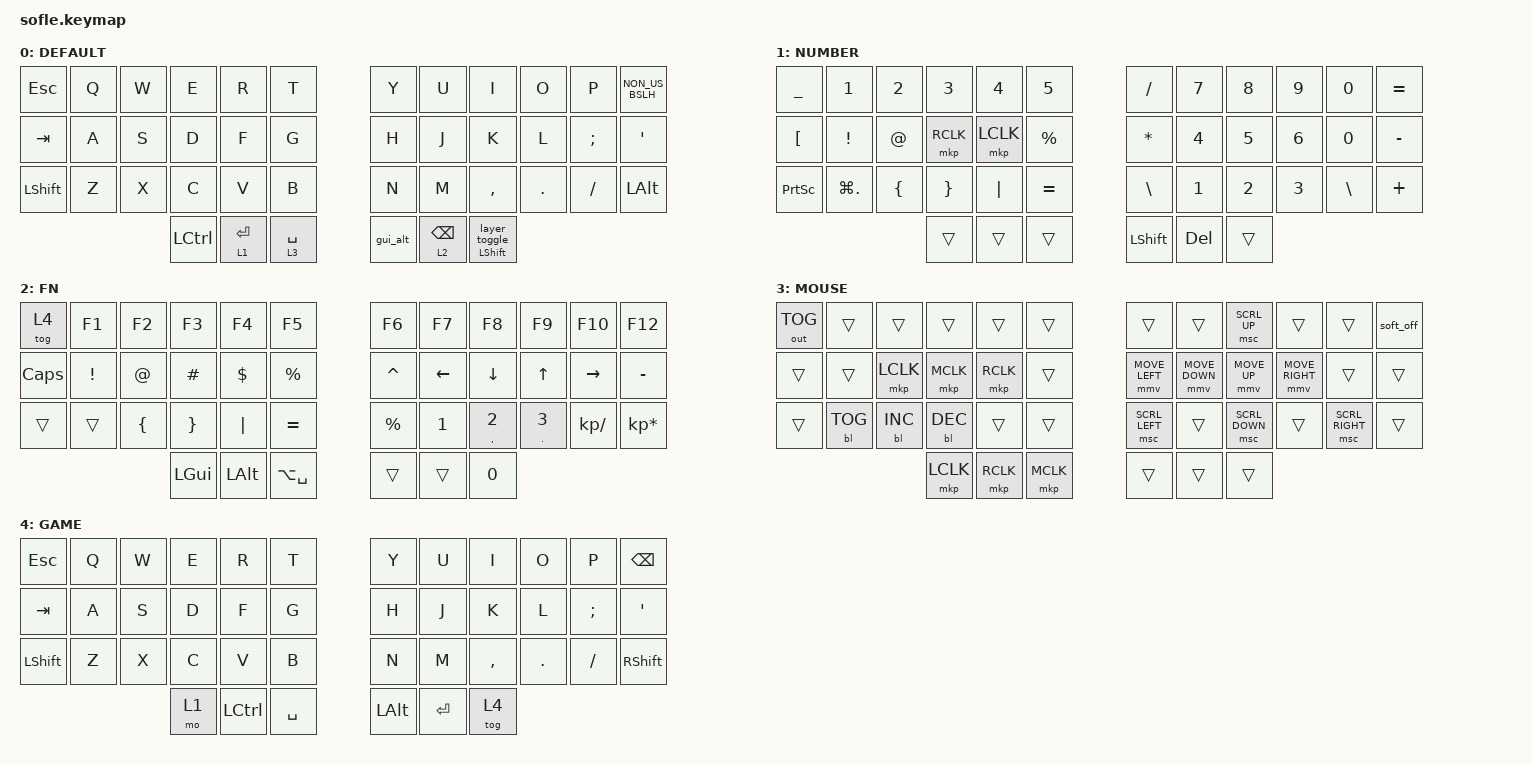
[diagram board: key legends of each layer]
/*
 * Copyright (c) 2023 The ZMK Contributors
 *
 * SPDX-License-Identifier: MIT
 */

#include <behaviors.dtsi>
#include <dt-bindings/zmk/keys.h>
#include <dt-bindings/zmk/bt.h>
#include <dt-bindings/zmk/outputs.h>
#include <dt-bindings/zmk/backlight.h>

#define ZMK_POINTING_DEFAULT_SCRL_VAL 100
#include <dt-bindings/zmk/pointing.h>

// Helpful macros borrowed from AndrewMSHowe
#define ___ &trans

// Layer numbers for use by the keymap & macros

#define DEFAULT 0
#define NUMBER  1
#define FN  2
#define HOTKEY  3
#define GAME    4


// Layer-tap tweaks:
// - flavor "hold-preferred": if any key is pressed while &lt is held, immediately
//   treat as HOLD (layer active). This makes layer activation snappy — e.g.,
//   hold L2 + tap Q correctly gives layer-1's Q (a number) instead of RETURN + Q.
// - quick-tap-ms: after a tap+release, if pressed again within 200ms treat as
//   tap-repeat (so hold-to-repeat backspace/enter still works).
&lt {
    flavor = "hold-preferred";
    tapping-term-ms = <200>;
    quick-tap-ms = <200>;
};

// Mod-tap keeps default balanced flavor (better for modifier + letter combos).
&mt {
    quick-tap-ms = <200>;
};

/ {
    behaviors {
        // Right thumb 3 (right of BSPC): tap 1x = toggle NUMBER, tap 2x = toggle FN
        layer_toggle: layer_toggle {
            compatible = "zmk,behavior-tap-dance";
            #binding-cells = <0>;
            tapping-term-ms = <220>;
            bindings = <&tog 1>, <&tog 2>;
        };

        // Right thumb 1 (left of BSPC): tap/hold = Cmd (LGUI), 2x tap = Alt (LALT)
        // Cmd combos: press-and-hold R1 while pressing letter (e.g., Cmd+C).
        // Opt combos: tap R1 twice, hold on 2nd tap, then press letter.
        gui_alt: gui_alt {
            compatible = "zmk,behavior-tap-dance";
            #binding-cells = <0>;
            tapping-term-ms = <200>;
            bindings = <&kp LGUI>, <&kp LALT>;
        };

        // Right thumb 3 (right of BSPC): hold = Shift, tap = layer_toggle
        // Shift combos: hold R3 + letter (e.g., R3+A = capital A).
        // Layer toggle: tap R3 1x = NUMBER, tap 2x = FN (via layer_toggle).
        shift_layer: shift_layer {
            compatible = "zmk,behavior-hold-tap";
            #binding-cells = <2>;
            tapping-term-ms = <200>;
            quick-tap-ms = <200>;
            flavor = "tap-preferred";
            bindings = <&kp>, <&layer_toggle>;
        };
    };

    keymap {
        compatible = "zmk,keymap";

        windows_default_layer {
            label = "DEFAULT";
            bindings = <
// ╭───────────────┬───────────────┬───────────────┬───────────────┬───────────────┬───────────────╮                                 ╭───────────────┬───────────────┬───────────────┬───────────────┬───────────────┬───────────────╮
       &kp ESC        &kp Q            &kp W           &kp E           &kp R           &kp T     /*|                                 |*/  &kp Y          &kp U           &kp I           &kp O           &kp P          &kp NON_US_BSLH
       &kp TAB        &kp A            &kp S           &kp D           &kp F           &kp G     /*├─────────────╮     ╭─────────────┤*/  &kp H          &kp J           &kp K           &kp L           &kp SEMI       &kp SQT
       &kp LSHIFT     &kp Z            &kp X           &kp C           &kp V           &kp B                                              &kp N          &kp M           &kp COMMA       &kp DOT         &kp FSLH       &kp LALT
/* ╰───────────────┴───────────────┤*/                                 &kp LCTRL       &lt 1  RETURN  &lt 3 SPACE            &gui_alt      &lt 2 BSPC     &shift_layer LSHIFT 0 //├───────────────┴───────────────╯
//                                 ╰───────────────┴───────────────┴───────────────┴───────────────┴─────────────╯     ╰─────────────┴───────────────┴───────────────┴───────────────┴───────────────╯
            >;
        };

 

        windows_symbols_layer {
            label = "NUMBER";
            bindings = <
// ╭───────────────┬───────────────┬───────────────┬───────────────┬───────────────┬───────────────╮                                 ╭───────────────┬───────────────┬───────────────┬───────────────┬───────────────┬───────────────╮
       &kp UNDER       &kp N1          &kp N2          &kp N3          &kp N4          &kp N5    /*|                                 |*/  &kp FSLH       &kp N7          &kp N8          &kp N9          &kp N0          &kp EQUAL
       &kp LBKT        &kp EXCL        &kp AT          &mkp RCLK       &mkp LCLK       &kp PRCNT /*├─────────────╮     ╭─────────────┤*/  &kp STAR       &kp N4          &kp N5          &kp N6          &kp N0          &kp MINUS
       &kp PSCRN       &kp LG(DOT)     &kp LEFT_BRACE  &kp RIGHT_BRACE &kp PIPE        &kp EQUAL                                          &kp BSLH       &kp N1          &kp N2          &kp N3          &kp BACKSLASH   &kp PLUS
/* ╰───────────────┴───────────────┤*/                                 ___             ___             ___                 &kp LSHIFT     &kp DEL        ___                        //├───────────────┴───────────────╯
//                                 ╰───────────────┴───────────────┴───────────────┴───────────────┴─────────────╯     ╰─────────────┴───────────────┴───────────────┴───────────────┴───────────────╯
            >;
        };

        numpad_layer {
            label = "FN";
            
            bindings = <
// ╭───────────────┬───────────────┬───────────────┬───────────────┬───────────────┬───────────────╮                                 ╭───────────────┬───────────────┬───────────────┬───────────────┬───────────────┬───────────────╮
       &tog 4          &kp F1          &kp F2          &kp F3          &kp F4          &kp F5    /*|                                 |*/  &kp F6         &kp F7          &kp F8          &kp F9          &kp F10          &kp F12
       &kp CAPSLOCK    &kp EXCL        &kp AT          &kp HASH        &kp DLLR        &kp PRCNT /*├─────────────╮     ╭─────────────┤*/  &kp CARET      &kp LEFT        &kp DOWN        &kp UP          &kp RIGHT        &kp MINUS
       ___             ___             &kp LEFT_BRACE  &kp RIGHT_BRACE &kp PIPE        &kp EQUAL                                          &kp PRCNT      &kp N1          &mt COMMA N2    &mt DOT N3      &kp KP_DIVIDE    &kp KP_MULTIPLY
/* ╰───────────────┴───────────────┤*/                                 &kp LGUI        &kp LALT      &kp LA(SPACE)            ___            ___         &kp N0                                    //├───────────────┴───────────────╯
//                                 ╰───────────────┴───────────────┴───────────────┴───────────────┴─────────────╯     ╰─────────────┴───────────────┴───────────────┴───────────────┴───────────────╯
            >;
      };



      mouse_layer {
            label = "MOUSE";
            bindings = <
// ╭───────────────┬───────────────┬───────────────┬───────────────┬───────────────┬────────────────╮                                 ╭───────────────┬───────────────┬───────────────┬───────────────┬───────────────┬───────────────╮
      &out OUT_TOG     ___              ___             ___             ___             ___      /*|                                 |*/   ___            ___             &msc SCRL_UP     ___             ___              &soft_off
      ___              ___              &mkp LCLK       &mkp MCLK       &mkp RCLK       ___      /*├─────────────╮     ╭─────────────┤*/   &mmv MOVE_LEFT &mmv MOVE_DOWN  &mmv MOVE_UP     &mmv MOVE_RIGHT ___              ___
      ___              &bl BL_TOG       &bl BL_INC      &bl BL_DEC      ___             ___                                                &msc SCRL_LEFT ___             &msc SCRL_DOWN   ___             &msc SCRL_RIGHT  ___
/* ╰───────────────┴───────────────┤*/                                 &mkp LCLK       &mkp RCLK       &mkp MCLK           ___            ___            ___              //├───────────────┴───────────────╯
//                                 ╰───────────────┴───────────────┴───────────────┴────────────────┴─────────────╯     ╰─────────────┴───────────────┴───────────────┴───────────────┴───────────────╯
            >;
        };

        // GAME layer — optimized for League of Legends.
        // Only direct &kp bindings (no layer-tap/mod-tap) so nothing gets
        // triggered by accident while spamming keys or holding Space to
        // center camera. Toggle in/out via `&tog 4`.
        //
        // Thumb layout:
        //   L1 = &mo 1 (hold for NUMBER layer -> items 1-6 via Q W E R T ...)
        //   L2 = LCTRL (Ctrl+Q/W/E/R = level up ability)
        //   L3 = SPACE (center camera, hold-able)
        //   R1 = LALT  (Alt+Q/W/E/R = self-cast)
        //   R2 = ENTER (open chat)
        //   R3 = &tog 4 (exit GAME back to DEFAULT)
        game_layer {
            label = "GAME";
            bindings = <
// ╭───────────────┬───────────────┬───────────────┬───────────────┬───────────────┬────────────────╮                                 ╭───────────────┬───────────────┬───────────────┬───────────────┬───────────────┬───────────────╮
      &kp ESC          &kp Q            &kp W           &kp E           &kp R           &kp T     /*|                                 |*/   &kp Y          &kp U           &kp I            &kp O           &kp P            &kp BSPC
      &kp TAB          &kp A            &kp S           &kp D           &kp F           &kp G     /*├─────────────╮     ╭─────────────┤*/   &kp H          &kp J           &kp K            &kp L           &kp SEMI         &kp SQT
      &kp LSHIFT       &kp Z            &kp X           &kp C           &kp V           &kp B                                                &kp N          &kp M           &kp COMMA        &kp DOT         &kp FSLH         &kp RSHIFT
/* ╰───────────────┴───────────────┤*/                                 &mo 1           &kp LCTRL       &kp SPACE           &kp LALT       &kp ENTER      &tog 4           //├───────────────┴───────────────╯
//                                 ╰───────────────┴───────────────┴───────────────┴────────────────┴─────────────╯     ╰─────────────┴───────────────┴───────────────┴───────────────┴───────────────╯
            >;
        };

    };

};
